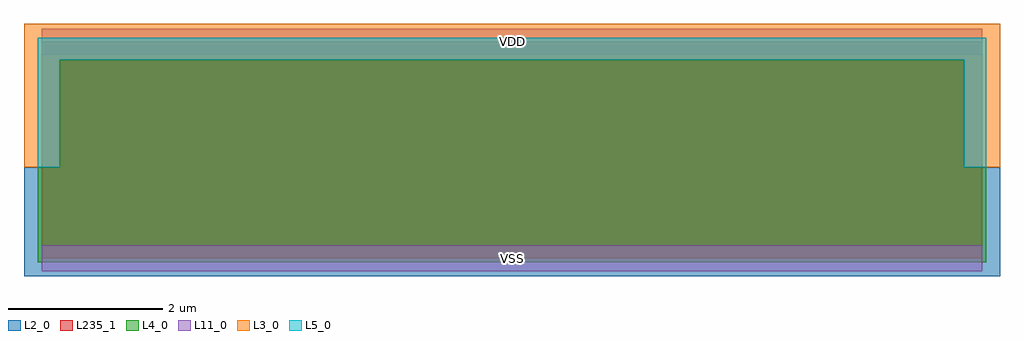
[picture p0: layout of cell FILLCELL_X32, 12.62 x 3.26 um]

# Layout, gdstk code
import gdstk
lib = gdstk.Library(unit=1e-6, precision=1e-09)
def R(c, l, rs):  # rectangles x0, y0, x1, y1
    for r in rs: c.add(gdstk.rectangle(r[:2], r[2:], *l))
def P(c, l, *ps):  # polygons
    for p in ps: c.add(gdstk.Polygon(p, *l))
L2_0 = (2, 0)
L3_0 = (3, 0)
L4_0 = (4, 0)
L5_0 = (5, 0)
L11_0 = (11, 0)
L235_1 = (235, 1)

fillcell_x32 = lib.new_cell('FILLCELL_X32')
P(fillcell_x32, L2_0, [(-0.23,-0.23),(12.39,-0.23),(12.39,1.18),(11.93,1.18),(11.93,2.57),(0.23,2.57),(0.23,1.18),(-0.23,1.18)])
P(fillcell_x32, L3_0, [(-0.23,1.18),(0.23,1.18),(0.23,2.57),(11.93,2.57),(11.93,1.18),(12.39,1.18),(12.39,3.03),(-0.23,3.03)])
P(fillcell_x32, L4_0, [(-0.05,-0.05),(12.21,-0.05),(12.21,1.18),(11.93,1.18),(11.93,2.57),(0.23,2.57),(0.23,1.18),(-0.05,1.18)])
P(fillcell_x32, L5_0, [(-0.05,1.18),(0.23,1.18),(0.23,2.57),(11.93,2.57),(11.93,1.18),(12.21,1.18),(12.21,2.85),(-0.05,2.85)])
R(fillcell_x32, L11_0, [(0,-0.17,12.16,0.17), (0,-0.17,12.16,0.17), (0,2.63,12.16,2.97), (0,2.63,12.16,2.97)])
R(fillcell_x32, L235_1, [(0,0,12.16,2.8)])
fillcell_x32.add(gdstk.Label('VSS', (6.08,0), layer=11, texttype=0))
fillcell_x32.add(gdstk.Label('VDD', (6.08,2.8), layer=11, texttype=0))

lib.write_gds('FILLCELL_X32.gds')
